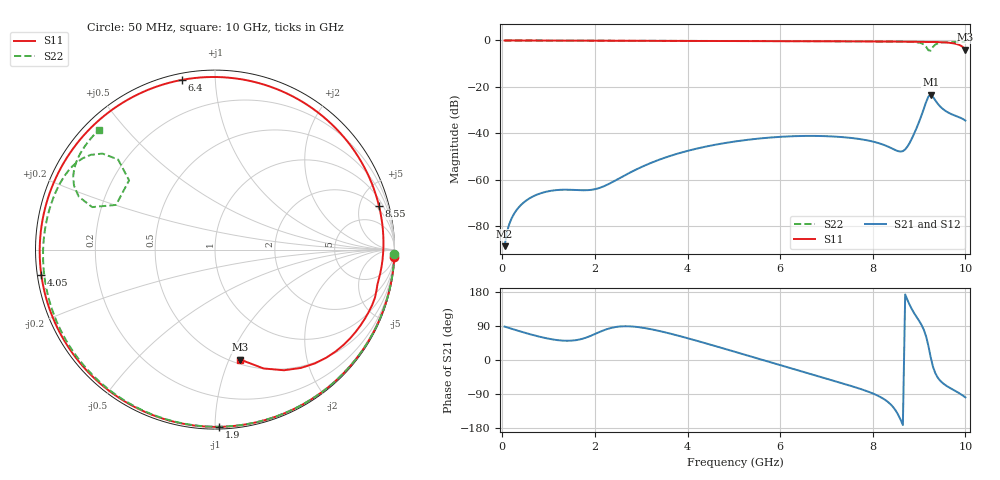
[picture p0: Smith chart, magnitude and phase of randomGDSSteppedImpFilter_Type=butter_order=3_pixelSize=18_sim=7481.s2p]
! freq	dB(S11)	phase(S11)	dB(S12)	phase(S12)
!  dB(S21)	phase(S21)	dB(S22)	phase(S22)
!S-par simulation data
#  GHz  S  DB  R 50
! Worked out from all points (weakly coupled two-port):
!   200 points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, 50 MHz to 10 GHz, reference 50 ohm
!   highest |S21| = -23.44 dB at 9.25 GHz (marker M1); lowest = -88.7 dB at 50 MHz (marker M2)
!   lowest |S11| = -4.0 dB at 10 GHz (marker M3), VSWR 4.38, Z = 27.2 - j54.9 ohm
!   |S11| at or under -10 dB: nowhere
!   |S22| runs from -4.4 to 0.0 dB; largest |S21 - S12| = 0
!   S11 on the Smith chart (normalised r, x): 50 MHz: 0, -46; 1.9 GHz: 0.01, -1.03; 4.05 GHz: 0.01, -0.07; 6.4 GHz: 0.03, +0.82; 8.55 GHz: 1.61, +7.34; 10 GHz: 0.54, -1.10
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0.05  -0.00 -2.5  -88.73 88.2  -88.73 88.2  -0.00 -1.4
0.15  -0.01 -7.4  -79.24 84.3  -79.24 84.3  -0.01 -4.2
0.4  -0.03 -19.6  -71.02 75.0  -71.02 75.0  -0.02 -11.1
0.7  -0.05 -34.1  -66.92 64.7  -66.92 64.7  -0.02 -19.4
1.75  -0.10 -82.1  -64.62 56.7  -64.62 56.7  -0.06 -47.5
1.9  -0.11 -88.6  -64.48 63.2  -64.48 63.2  -0.06 -51.4
2.6  -0.14 -117.3  -58.68 88.9  -58.68 88.9  -0.09 -69.1
3.4  -0.17 -147.9  -51.35 76.3  -51.35 76.3  -0.11 -88.3
4.05  -0.19 -171.8  -47.37 55.9  -47.37 55.9  -0.14 -103.2
5.05  -0.25 151.9  -43.50 20.7  -43.50 20.7  -0.18 -124.9
6.4  -0.32 100.9  -41.23 -27.9  -41.23 -27.9  -0.26 -152.9
6.7  -0.34 89.2  -41.17 -38.7  -41.17 -38.7  -0.29 -159.0
7.45  -0.39 59.3  -41.88 -65.5  -41.88 -65.5  -0.35 -174.6
8.35  -0.46 23.0  -45.97 -113.1  -45.97 -113.1  -0.46 165.5
8.55  -0.49 14.8  -47.75 -144.9  -47.75 -144.9  -0.50 160.5
8.75  -0.52 6.6  -45.73 158.1  -45.73 158.1  -0.58 155.0
9.1  -0.63 -8.1  -29.61 80.6  -29.61 80.6  -1.68 139.5
9.2  -0.67 -12.2  -24.24 37.9  -24.24 37.9  -4.22 141.1
9.25  -0.65 -14.3  -23.44 7.7  -23.44 7.7  -4.37 155.7
9.4  -0.68 -22.0  -27.21 -45.9  -27.21 -45.9  -1.29 155.6
9.7  -1.12 -40.3  -31.80 -76.0  -31.80 -76.0  -0.68 142.9
10  -4.04 -77.1  -34.55 -98.6  -34.55 -98.6  -0.64 134.2
